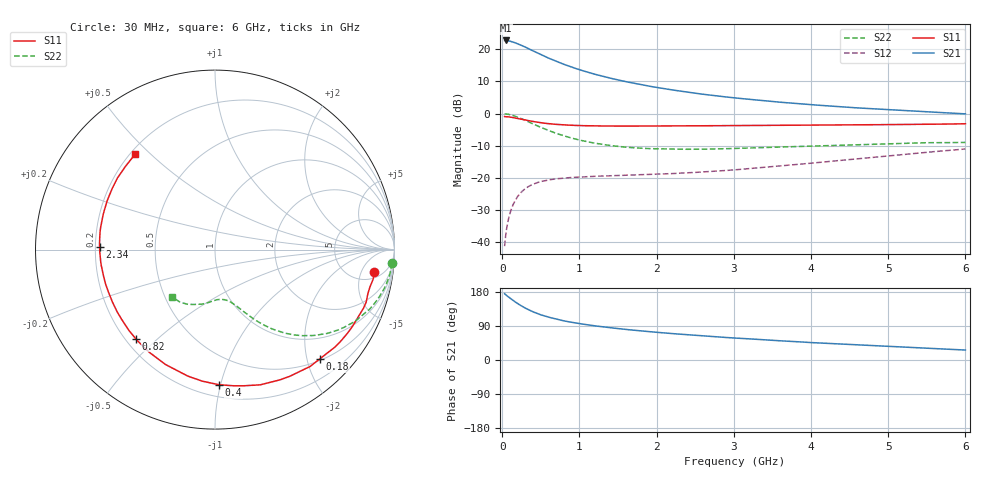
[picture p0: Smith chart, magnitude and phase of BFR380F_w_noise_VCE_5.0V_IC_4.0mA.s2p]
! Infineon Technologies  Discrete & RF Semiconductors
! BFR380F
! VCE =  5.0 V,  IC =  4.0 mA
! Common Emitter S-Parameters:  Nov 2015
# GHz  S  MA  R  50
!  f  S11  S21  S12  S22
! GHz  MAG  ANG  MAG  ANG  MAG  ANG  MAG  ANG
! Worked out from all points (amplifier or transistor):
!   206 points, 30 MHz to 6 GHz, reference 50 ohm
!   highest |S21| = 22.7 dB at 50 MHz (marker M1)
!   |S21| within 3 dB of that: start of sweep to 378.1 MHz
!   unconditionally stable (mu >= 1): 2.379 GHz to 5.016 GHz
!   at 200 MHz: K = 0.11, MSG = 23.7 dB, |S12| = -25.7 dB
!   at 1.56 GHz: K = 0.75, MSG = 14.7 dB, |S12| = -19.2 dB
!   at 6 GHz: K = 0.94, MSG = 5.5 dB, |S12| = -11.0 dB
!   lowest NFmin = 0.76 dB at 450 MHz
!   S11 on the Smith chart (normalised r, x): 30 MHz: 7, -9; 180 MHz: 0.53, -2.24; 400 MHz: 0.28, -0.99; 820 MHz: 0.24, -0.43; 2.34 GHz: 0.22, +0.01; 6 GHz: 0.22, +0.45
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0.03  0.8974 -8.1  13.58 174.8  0.0087 85.7  0.9903 -4.4
0.05  0.8877 -13.7  13.64 171.0  0.0146 83.3  0.9855 -7.3
0.08  0.8894 -21.5  13.48 166.7  0.023 79.1  0.9728 -11.7
0.12  0.8737 -31.8  13.1 160.2  0.0335 73.7  0.9469 -17.1
0.15  0.8607 -39.2  12.79 155.7  0.0407 70.0  0.9238 -21.0
0.18  0.8436 -46.2  12.37 151.5  0.0472 66.1  0.8952 -24.5
0.22  0.8273 -55.0  11.83 146.2  0.0553 61.9  0.8581 -29.0
0.3  0.7945 -71.5  10.74 136.7  0.0685 54.9  0.7799 -36.8
0.4  0.7535 -88.2  9.388 127.0  0.0799 48.0  0.687 -44.3
0.5  0.7209 -102.1  8.225 119.2  0.0878 42.9  0.6081 -50.0
0.6  0.6971 -113.3  7.253 112.9  0.0931 39.2  0.5438 -54.3
0.7  0.6793 -122.6  6.455 107.7  0.0968 36.6  0.4911 -57.7
0.82  0.6643 -131.7  5.687 102.5  0.0999 34.6  0.442 -60.9
1.04  0.6478 -144.7  4.634 94.8  0.1037 32.7  0.378 -65.4
1.22  0.6418 -152.9  4.015 89.6  0.106 32.4  0.3429 -68.5
1.5  0.6392 -162.6  3.322 82.9  0.1087 33.4  0.3085 -72.8
2.02  0.6406 -175.2  2.519 72.8  0.1144 37.5  0.283 -80.0
2.34  0.6431 178.8  2.2 67.6  0.1189 40.9  0.2788 -84.1
3.1  0.6492 167.7  1.707 57.0  0.1362 49.2  0.2887 -93.4
4.1  0.6601 154.5  1.345 45.0  0.1738 57.0  0.314 -104.5
5.1  0.675 142.3  1.131 35.0  0.2253 60.2  0.3419 -117.7
6  0.6929 130.1  0.988 26.3  0.2812 58.9  0.3559 -132.3
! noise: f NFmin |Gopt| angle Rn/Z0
0.45  0.76  0.33  41  0.13
0.9  0.77  0.32  86  0.16
1.8  1.22  0.4  146  0.09
1.9  1.36  0.42  149  0.09
2.4  1.57  0.44  166  0.08
3.5  2.35  0.52  -165  0.1
